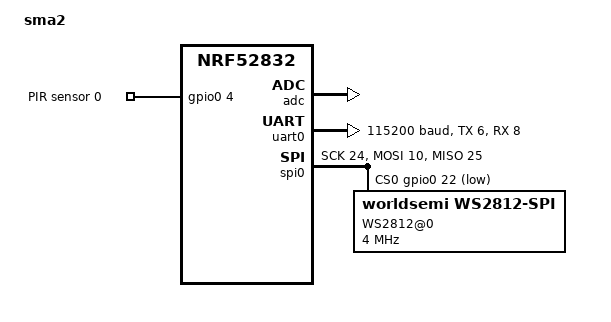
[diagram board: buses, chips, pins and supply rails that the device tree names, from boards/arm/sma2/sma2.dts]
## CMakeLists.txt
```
cmake_minimum_required(VERSION 3.20.0)

set(BOARD_ROOT ${CMAKE_CURRENT_LIST_DIR})
set(BOARD sma2)

find_package(Zephyr REQUIRED HINTS $ENV{ZEPHYR_BASE})
project(Sunmachine-A2-fw)

FILE(GLOB app_sources src/*.c)
target_sources(app PRIVATE ${app_sources})
```

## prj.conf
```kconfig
CONFIG_GPIO=y
CONFIG_NFCT_PINS_AS_GPIOS=y
CONFIG_SPI=y
CONFIG_LED_STRIP=y
CONFIG_WS2812_STRIP=y
CONFIG_ADC=y
CONFIG_COUNTER=y
CONFIG_COUNTER_RTC2=y

CONFIG_NEWLIB_LIBC=y
CONFIG_NEWLIB_LIBC_NANO=n

CONFIG_BT=y
CONFIG_BT_PERIPHERAL=y
CONFIG_BT_DEVICE_NAME="Sunmachine"
CONFIG_BT_DEVICE_NAME_DYNAMIC=y
CONFIG_BT_DEVICE_NAME_GATT_WRITABLE=y
CONFIG_BT_DEVICE_NAME_MAX=40
CONFIG_BT_DEVICE_APPEARANCE=1984
CONFIG_BT_CTLR_TX_PWR_PLUS_4=y
CONFIG_BT_SETTINGS=y
CONFIG_BT_SMP=y
#CONFIG_BT_SMP_SC_ONLY=y
CONFIG_BT_PRIVACY=y
CONFIG_BT_KEYS_OVERWRITE_OLDEST=y

CONFIG_FLASH=y
CONFIG_FLASH_PAGE_LAYOUT=y
CONFIG_FLASH_MAP=y
CONFIG_NVS=y
CONFIG_SETTINGS=y

#CONFIG_LOG=y
#CONFIG_RTT_CONSOLE=y
#CONFIG_UART_CONSOLE=n
```

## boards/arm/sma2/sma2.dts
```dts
/*
 * Copyright (c) 2017 Shawn Nock <shawn@monadnock.ca>
 * Copyright (c) 2017 Linaro Limited
 *
 * SPDX-License-Identifier: Apache-2.0
 */

/dts-v1/;
#include <nordic/nrf52832_qfaa.dtsi>
#include <dt-bindings/led/led.h>

/ {
	model = "sma2";
	compatible = "nordic,nrf52-dk-nrf52832";

	chosen {
		zephyr,console = &uart0;
		zephyr,shell-uart = &uart0;
		zephyr,uart-mcumgr = &uart0;
		zephyr,bt-mon-uart = &uart0;
		zephyr,bt-c2h-uart = &uart0;
		zephyr,sram = &sram0;
		zephyr,flash = &flash0;
		zephyr,code-partition = &slot0_partition;
	};

	pirs {
		compatible = "gpio-keys";
		pir0: pir_0 {
			gpios = <&gpio0 4 (GPIO_PULL_DOWN | GPIO_ACTIVE_HIGH)>;
			label = "PIR sensor 0";
		};
	};

	aliases {
		pir = &pir0;
	};
};

&adc {
	status = "okay";
};

&gpiote {
	status = "okay";
};

&gpio0 {
	status = "okay";
};

&uart0 {
	status = "okay";
	compatible = "nordic,nrf-uart";
	current-speed = <115200>;
	tx-pin = <6>;
	rx-pin = <8>;
	rx-pull-up;
	rts-pin = <5>;
	cts-pin = <7>;
	cts-pull-up;
};

&spi0 {
	compatible = "nordic,nrf-spi";
	status = "okay";
	sck-pin = <24>;
	mosi-pin = <10>;
	miso-pin = <25>;
	cs-gpios = <&gpio0 22 GPIO_ACTIVE_LOW>;

	led_strip: ws2812@0 {
		compatible = "worldsemi,ws2812-spi";
		label = "WS2812@0";
		reg = <0>;
		spi-max-frequency = <4000000>;
		spi-one-frame = <0x70>;
		spi-zero-frame = <0x40>;
		chain-length = <600>;
		color-mapping = <LED_COLOR_ID_GREEN
				LED_COLOR_ID_RED
				LED_COLOR_ID_BLUE>;
	};
};

&flash0 {
	/*
	 * For more information, see:
	 * https://docs.zephyrproject.org/latest/guides/dts/legacy-macros.html#legacy-flash-partitions
	 */
	partitions {
		compatible = "fixed-partitions";
		#address-cells = <1>;
		#size-cells = <1>;

		boot_partition: partition@0 {
			label = "mcuboot";
			reg = <0x00000000 0xc000>;
		};
		slot0_partition: partition@c000 {
			label = "image-0";
			reg = <0x0000C000 0x32000>;
		};
		slot1_partition: partition@3e000 {
			label = "image-1";
			reg = <0x0003E000 0x32000>;
		};
		scratch_partition: partition@70000 {
			label = "image-scratch";
			reg = <0x00070000 0xa000>;
		};
		storage_partition: partition@7a000 {
			label = "storage";
			reg = <0x0007a000 0x00006000>;
		};
	};
};
```

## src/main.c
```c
#include <zephyr.h>
#include <stdlib.h>
#include <string.h>
#include <math.h>
#include <device.h>
#include <drivers/gpio.h>
#include <drivers/led_strip.h>
#include <drivers/adc.h>
#include <hal/nrf_saadc.h>

#include "types.h"
#include "storage.h"
#include "cron.h"
#include "bluetooth.h"
#include "colors.h"

#define STRIP_NODE DT_NODELABEL(led_strip)
#define MOTION_NODE DT_ALIAS(pir)
#define MOTION_PIN DT_GPIO_PIN(MOTION_NODE, gpios)
#define MOTION_FLAGS GPIO_INPUT | DT_GPIO_FLAGS(MOTION_NODE, gpios)

struct k_thread thread_led;
K_THREAD_STACK_DEFINE(thr_stack_led, 1024);

uint8_t control[4] = { 0, 12, 10, 10 };
uint8_t strip[6] = { 0, 0, 30, 0, 100, 20 };
sun_auto_t auto_state = auto_off;
sun_ws2812_t ws2812;
uint16_t lux = 0, luxoff = 0xffff;

const struct device *gpio;
struct gpio_callback motion_cb;

const struct device *adc;
const struct adc_channel_cfg adc_channel = {
    .gain = ADC_GAIN_1_6,
    .reference = ADC_REF_INTERNAL,
    .acquisition_time = ADC_ACQ_TIME_DEFAULT,
    .channel_id = 0,
    .input_positive = NRF_SAADC_INPUT_AIN4,
};
int32_t adc_voltage[1];
const struct adc_sequence adc_sequence = {
    .channels = BIT(adc_channel.channel_id),
    .buffer = adc_voltage,
    .buffer_size = sizeof(adc_voltage),
    .resolution = 12,
};

const uint16_t delay_table[] = {
    210, 200, 190, 180, 170,
    160, 150, 140, 130, 120,
    110, 100, 90, 80, 70,
    60, 50, 40, 30, 20,
};

void luxoff_timeout(struct k_timer *timer);
K_TIMER_DEFINE(luxoff_timer, luxoff_timeout, NULL);

void auto_timeout(struct k_timer *timer);
K_TIMER_DEFINE(auto_timer, auto_timeout, NULL);

void ws2812_loop(void *a, void *b, void *c) {
    for(;;) {
        if(ws2812.update) {
            ws2812.update = false;

            if(MODE == mode_on || auto_state) {
                uint16_t hue = strip[2] | strip[3] << 8;
                uint8_t saturation = strip[4] <= 100 ? strip[4] : 100;
                uint8_t brightness = strip[5];
                if(auto_state == auto_semi) brightness /= 4;
                ws2812.pixbuf[0] = HSV(hue, saturation, brightness);
            } else {
                memset(&ws2812.pixbuf[0], 0, sizeof(struct led_rgb));
            }

            uint16_t pixlen = strip[0] | strip[1] << 8;
            uint32_t pixel_first = led_rgb_to_int(ws2812.pixbuf[0]);
            uint32_t pixel_last = led_rgb_to_int(ws2812.pixbuf[pixlen-1]);

            if(pixel_first != pixel_last) {
                for(uint16_t i=0; i<pixlen; i++) {
                    memcpy(&ws2812.pixbuf[i], &ws2812.pixbuf[0], sizeof(struct led_rgb));
                    led_strip_update_rgb(ws2812.dev, ws2812.pixbuf, pixlen);
                    k_msleep(delay_table[control[3]-1]);
                }
            }
        }

        k_msleep(10);
    }
}

void luxoff_timeout(struct k_timer *timer) {
    uint16_t a = control[2] * 7;
    uint16_t b = lux * 1.4;
    luxoff = a > b ? a : b;
}

void auto_timeout(struct k_timer *timer) {
    if(auto_state) auto_state--;
    if(auto_state == auto_semi) {
        double time_factor = control[1] * 7.5;
        double sqrt = time_factor / 3.0;
        for(uint8_t i=0; i<6; i++) {
            sqrt = (sqrt + time_factor / sqrt) / 2;
        }
        k_timer_start(&auto_timer, K_SECONDS(sqrt + 0.5), K_NO_WAIT);
    }
    ws2812.update = true;
}

void on_motion(const struct device *dev, struct gpio_callback *cb, gpio_port_pins_t pins) {
    if(MODE == mode_auto) {
        if(gpio_pin_get(gpio, MOTION_PIN)) {
            if(lux <= control[2] * 5) {
                k_timer_stop(&auto_timer);
                luxoff = 0xffff;
                auto_state = auto_on;
                ws2812.update = true;
                k_timer_start(&luxoff_timer, K_SECONDS(5), K_NO_WAIT);
            }
        } else {
            k_timer_start(&auto_timer, K_SECONDS(control[1] * 5), K_NO_WAIT);
        }
    }
}

void board_init() {
    ws2812.dev = DEVICE_DT_GET(STRIP_NODE);
    memset(&ws2812.pixbuf, 0, sizeof(ws2812.pixbuf));
    led_strip_update_rgb(ws2812.dev, ws2812.pixbuf, strip[0] | strip[1] << 8);
    ws2812.update = true;

    gpio = device_get_binding("GPIO_0");
    gpio_pin_configure(gpio, MOTION_PIN, MOTION_FLAGS);
    gpio_pin_interrupt_configure(gpio, MOTION_PIN, GPIO_INT_EDGE_BOTH);
    gpio_init_callback(&motion_cb, on_motion, BIT(MOTION_PIN));
    gpio_add_callback(gpio, &motion_cb);

    adc = device_get_binding("ADC_0");
    adc_channel_setup(adc, &adc_channel);

    k_thread_create(&thread_led,
        thr_stack_led, K_THREAD_STACK_SIZEOF(thr_stack_led),
        ws2812_loop, NULL, NULL, NULL,
        5, 0, K_NO_WAIT);
}

void main() {
    storage_init();
    cron_init();
    board_init();
    bluetooth_init();

    for(;;) {
        adc_read(adc, &adc_sequence);
        adc_raw_to_millivolts(adc_ref_internal(adc),
            adc_channel.gain, adc_sequence.resolution, &adc_voltage[0]);
        double resistance = (3300.0 - adc_voltage[0]) / adc_voltage[0] * 10000;
        lux = round(37500000 * pow(resistance, -1.41));
        bluetooth_lux_notify();

        if(auto_state && lux > luxoff) {
            auto_state = auto_off;
            ws2812.update = true;
        }

        if(MODE == mode_sleep && lux > control[2] * 7) {
            MODE_SET(mode_auto);
        }

        k_msleep(1000);
    }
}
```

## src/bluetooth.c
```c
#include <zephyr.h>
#include <stdio.h>
#include <stdlib.h>
#include <bluetooth/bluetooth.h>
#include <bluetooth/uuid.h>
#include <bluetooth/gap.h>
#include <bluetooth/gatt.h>
#include <settings/settings.h>

#include "types.h"
#include "storage.h"
#include "cron.h"

#define SRVC_UUID BT_UUID_DECLARE_128( \
    0xfe, 0xd0, 0xe2, 0xad, 0xb7, 0x07, 0xcc, 0x9a, \
    0x77, 0x4e, 0x04, 0xf7, 0x00, 0x34, 0x16, 0x20)

#define IDV_UUID BT_UUID_DECLARE_128( \
    0xfe, 0xd0, 0xe2, 0xad, 0xb7, 0x07, 0xcc, 0x9a, \
    0x77, 0x4e, 0x04, 0xf7, 0x01, 0x34, 0x16, 0x20)

#define CTRL_UUID BT_UUID_DECLARE_128( \
    0xfe, 0xd0, 0xe2, 0xad, 0xb7, 0x07, 0xcc, 0x9a, \
    0x77, 0x4e, 0x04, 0xf7, 0x02, 0x34, 0x16, 0x20)

#define STRIP_UUID BT_UUID_DECLARE_128( \
    0xfe, 0xd0, 0xe2, 0xad, 0xb7, 0x07, 0xcc, 0x9a, \
    0x77, 0x4e, 0x04, 0xf7, 0x03, 0x34, 0x16, 0x20)

#define LUX_UUID BT_UUID_DECLARE_128( \
    0xfe, 0xd0, 0xe2, 0xad, 0xb7, 0x07, 0xcc, 0x9a, \
    0x77, 0x4e, 0x04, 0xf7, 0x04, 0x34, 0x16, 0x20)

#define CRON_UUID BT_UUID_DECLARE_128( \
    0xfe, 0xd0, 0xe2, 0xad, 0xb7, 0x07, 0xcc, 0x9a, \
    0x77, 0x4e, 0x04, 0xf7, 0x05, 0x34, 0x16, 0x20)

#define RTC_UUID BT_UUID_DECLARE_128( \
    0xfe, 0xd0, 0xe2, 0xad, 0xb7, 0x07, 0xcc, 0x9a, \
    0x77, 0x4e, 0x04, 0xf7, 0x06, 0x34, 0x16, 0x20)

#define TZ_UUID BT_UUID_DECLARE_128( \
    0xfe, 0xd0, 0xe2, 0xad, 0xb7, 0x07, 0xcc, 0x9a, \
    0x77, 0x4e, 0x04, 0xf7, 0x07, 0x34, 0x16, 0x20)

const struct bt_data ad[] = {
    BT_DATA_BYTES(BT_DATA_FLAGS, (BT_LE_AD_GENERAL | BT_LE_AD_NO_BREDR)),
    BT_DATA_BYTES(BT_DATA_UUID128_ALL, \
        0xfe, 0xd0, 0xe2, 0xad, 0xb7, 0x07, 0xcc, 0x9a, \
        0x77, 0x4e, 0x04, 0xf7, 0x00, 0x34, 0x16, 0x20),
};

char idv[8] = { 'S', 'M', 'A', '2', 0, 0, 0, 0 };
bool notify_enable = false;

extern uint8_t control[4];
extern uint8_t strip[6];
extern uint16_t lux;
extern uint8_t cronbuf[40];
extern char timezone[50];
extern sun_ws2812_t ws2812;
extern sun_auto_t auto_state;
extern struct k_timer auto_timer;
extern struct k_timer luxoff_timer;

ssize_t idv_read(struct bt_conn *conn, const struct bt_gatt_attr *attr, void *buf, uint16_t len, uint16_t offset) {
    const uint8_t *value = attr->user_data;
    return bt_gatt_attr_read(conn, attr, buf, len, offset, value, sizeof(idv));
}

ssize_t control_read(struct bt_conn *conn, const struct bt_gatt_attr *attr, void *buf, uint16_t len, uint16_t offset) {
    const uint8_t *value = attr->user_data;
    return bt_gatt_attr_read(conn, attr, buf, len, offset, value, sizeof(control));
}

ssize_t control_write(struct bt_conn *conn, const struct bt_gatt_attr *attr, const void *buf, uint16_t len, uint16_t offset, uint8_t flags) {
    if(offset != 0 || len != sizeof(control)) {
        return BT_GATT_ERR(BT_ATT_ERR_INVALID_OFFSET);
    }
    uint8_t *value = attr->user_data;
    uint8_t *update = (uint8_t*)buf;
    bool trigger[3] = {
        (value[0] & 0x0f) != (update[0] & 0x0f),
        value[1] != update[1] && auto_state == auto_on,
        value[2] != update[2] && auto_state == auto_on,
    };
    memcpy(value + offset, buf, len);
    if(MODE != mode_auto) {
        auto_state = auto_off;
        k_timer_stop(&auto_timer);
    }
    if(trigger[0]) ws2812.update = true;
    if(trigger[1]) k_timer_start(&auto_timer, K_SECONDS(control[1] * 5), K_NO_WAIT);
    if(trigger[2]) k_timer_start(&luxoff_timer, K_SECONDS(1), K_NO_WAIT);
    storage_keep_control();
    return len;
}

ssize_t strip_read(struct bt_conn *conn, const struct bt_gatt_attr *attr, void *buf, uint16_t len, uint16_t offset) {
    const uint8_t *value = attr->user_data;
    return bt_gatt_attr_read(conn, attr, buf, len, offset, value, sizeof(strip));
}

ssize_t strip_write(struct bt_conn *conn, const struct bt_gatt_attr *attr, const void *buf, uint16_t len, uint16_t offset, uint8_t flags) {
    if(offset != 0 || len != sizeof(strip)) {
        return BT_GATT_ERR(BT_ATT_ERR_INVALID_OFFSET);
    }
    uint8_t *value = attr->user_data;
    uint8_t *update = (uint8_t*)buf;
    bool trigger = false;
    for(int i=0; i<len; i++) {
        if(value[i] != update[i]) trigger = true;
    }
    memcpy(value, buf, len);
    ws2812.update = trigger;
    storage_keep_strip();
    return len;
}

ssize_t lux_read(struct bt_conn *conn, const struct bt_gatt_attr *attr, void *buf, uint16_t len, uint16_t offset) {
    const uint8_t *value = attr->user_data;
    return bt_gatt_attr_read(conn, attr, buf, len, offset, value, sizeof(lux));
}

void lux_ccc_cfg_changed(const struct bt_gatt_attr *attr, uint16_t value) {
    notify_enable = (value == BT_GATT_CCC_NOTIFY);
}

ssize_t crontab_read(struct bt_conn *conn, const struct bt_gatt_attr *attr, void *buf, uint16_t len, uint16_t offset) {
    const uint8_t *value = attr->user_data;
    return bt_gatt_attr_read(conn, attr, buf, len, offset, value, sizeof(cronbuf));
}

ssize_t crontab_write(struct bt_conn *conn, const struct bt_gatt_attr *attr, const void *buf, uint16_t len, uint16_t offset, uint8_t flags) {
    if(offset != 0 || len != sizeof(cronbuf)) {
        return BT_GATT_ERR(BT_ATT_ERR_INVALID_OFFSET);
    }
    uint8_t *value = attr->user_data;
    memcpy(value, buf, len);
    crontab_load();
    storage_keep_cronbuf();
    return len;
}

ssize_t rtc_read(struct bt_conn *conn, const struct bt_gatt_attr *attr, void *buf, uint16_t len, uint16_t offset) {
    time_t rtc_value = rtc_get();
    const uint8_t *value = (uint8_t*)&rtc_value;
    return bt_gatt_attr_read(conn, attr, buf, len, offset, value, sizeof(rtc_value));
}

ssize_t rtc_write(struct bt_conn *conn, const struct bt_gatt_attr *attr, const void *buf, uint16_t len, uint16_t offset, uint8_t flags) {
    if(offset != 0 || len != sizeof(time_t)) {
        return BT_GATT_ERR(BT_ATT_ERR_INVALID_OFFSET);
    }
    uint8_t *value = (uint8_t*)malloc(len);
    memcpy(value, buf, len);
    rtc_set(*(time_t*)value);
    free(value);
    return len;
}

ssize_t timezone_read(struct bt_conn *conn, const struct bt_gatt_attr *attr, void *buf, uint16_t len, uint16_t offset) {
    const uint8_t *value = attr->user_data;
    return bt_gatt_attr_read(conn, attr, buf, len, offset, value, strlen(timezone));
}

ssize_t timezone_write(struct bt_conn *conn, const struct bt_gatt_attr *attr, const void *buf, uint16_t len, uint16_t offset, uint8_t flags) {
    if(offset != 0 || len >= sizeof(timezone)) {
        return BT_GATT_ERR(BT_ATT_ERR_INVALID_OFFSET);
    }
    uint8_t *value = attr->user_data;
    memcpy(value, buf, len);
    _setenv_r(_REENT, "TZ", value, 1);
    return len;
}

BT_GATT_SERVICE_DEFINE(vnd_svc,
    BT_GATT_PRIMARY_SERVICE(SRVC_UUID),
    BT_GATT_CHARACTERISTIC(IDV_UUID,
        BT_GATT_CHRC_READ,
        BT_GATT_PERM_READ,
        idv_read, NULL, &idv),
    BT_GATT_CHARACTERISTIC(CTRL_UUID,
        BT_GATT_CHRC_READ | BT_GATT_CHRC_WRITE,
        BT_GATT_PERM_READ | BT_GATT_PERM_WRITE,
        control_read, control_write, &control),
    BT_GATT_CHARACTERISTIC(STRIP_UUID,
        BT_GATT_CHRC_READ | BT_GATT_CHRC_WRITE,
        BT_GATT_PERM_READ | BT_GATT_PERM_WRITE,
        strip_read, strip_write, &strip),
    BT_GATT_CHARACTERISTIC(LUX_UUID,
        BT_GATT_CHRC_READ | BT_GATT_CHRC_NOTIFY,
        BT_GATT_PERM_READ,
        lux_read, NULL, &lux),
    BT_GATT_CCC(lux_ccc_cfg_changed,
        BT_GATT_PERM_READ | BT_GATT_PERM_WRITE),
    BT_GATT_CHARACTERISTIC(CRON_UUID,
        BT_GATT_CHRC_READ | BT_GATT_CHRC_WRITE,
        BT_GATT_PERM_READ | BT_GATT_PERM_WRITE,
        crontab_read, crontab_write, &cronbuf),
    BT_GATT_CHARACTERISTIC(RTC_UUID,
        BT_GATT_CHRC_READ | BT_GATT_CHRC_WRITE,
        BT_GATT_PERM_READ | BT_GATT_PERM_WRITE,
        rtc_read, rtc_write, NULL),
    BT_GATT_CHARACTERISTIC(TZ_UUID,
        BT_GATT_CHRC_READ | BT_GATT_CHRC_WRITE,
        BT_GATT_PERM_READ | BT_GATT_PERM_WRITE,
        timezone_read, timezone_write, &timezone),
);

void bluetooth_lux_notify() {
    if(notify_enable) bt_gatt_notify(NULL, &vnd_svc.attrs[7], &lux, sizeof(lux));
}

void bt_ready(int err) {
    settings_load();

    if(!strcmp(CONFIG_BT_DEVICE_NAME, bt_get_name())) {
        bt_addr_le_t addr[CONFIG_BT_ID_MAX];
        int addrs_count = 1;
        bt_id_get(addr, &addrs_count);
        if(addrs_count) {
            char btname[16];
            sprintf(btname, "%s %02X%02X",
                CONFIG_BT_DEVICE_NAME,
                addr[0].a.val[1], addr[0].a.val[0]);
            bt_set_name(btname);
        }
    }

    bt_le_adv_start(
        BT_LE_ADV_PARAM(
            BT_LE_ADV_OPT_CONNECTABLE | BT_LE_ADV_OPT_USE_NAME,
            BT_GAP_ADV_FAST_INT_MIN_2, BT_GAP_ADV_FAST_INT_MAX_2, NULL
        ),
        ad, ARRAY_SIZE(ad), NULL, 0
    );
}

void bluetooth_init() {
    bt_enable(bt_ready);
}
```

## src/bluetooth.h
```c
#pragma once

void bluetooth_lux_notify();
void bluetooth_init();
```

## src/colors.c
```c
#include "colors.h"

const uint8_t gamma_table[] = {
    0x00, 0x00, 0x00, 0x00, 0x00, 0x00, 0x00, 0x00, 0x00, 0x00, 0x00, 0x00, 0x00, 0x00, 0x01, 0x01,
    0x01, 0x01, 0x01, 0x01, 0x01, 0x01, 0x01, 0x02, 0x02, 0x02, 0x02, 0x02, 0x02, 0x03, 0x03, 0x03,
    0x03, 0x03, 0x04, 0x04, 0x04, 0x04, 0x05, 0x05, 0x05, 0x05, 0x06, 0x06, 0x06, 0x07, 0x07, 0x07,
    0x08, 0x08, 0x08, 0x09, 0x09, 0x09, 0x0a, 0x0a, 0x0b, 0x0b, 0x0b, 0x0c, 0x0c, 0x0d, 0x0d, 0x0e,
    0x0e, 0x0e, 0x0f, 0x0f, 0x10, 0x10, 0x11, 0x11, 0x12, 0x12, 0x13, 0x14, 0x14, 0x15, 0x15, 0x16,
    0x16, 0x17, 0x18, 0x18, 0x19, 0x19, 0x1a, 0x1b, 0x1b, 0x1c, 0x1d, 0x1d, 0x1e, 0x1f, 0x1f, 0x20,
    0x21, 0x21, 0x22, 0x23, 0x24, 0x24, 0x25, 0x26, 0x27, 0x28, 0x28, 0x29, 0x2a, 0x2b, 0x2c, 0x2c,
    0x2d, 0x2e, 0x2f, 0x30, 0x31, 0x32, 0x33, 0x33, 0x34, 0x35, 0x36, 0x37, 0x38, 0x39, 0x3a, 0x3b,
    0x3c, 0x3d, 0x3e, 0x3f, 0x40, 0x41, 0x42, 0x43, 0x44, 0x45, 0x46, 0x47, 0x48, 0x49, 0x4b, 0x4c,
    0x4d, 0x4e, 0x4f, 0x50, 0x51, 0x53, 0x54, 0x55, 0x56, 0x57, 0x58, 0x5a, 0x5b, 0x5c, 0x5d, 0x5f,
    0x60, 0x61, 0x62, 0x64, 0x65, 0x66, 0x68, 0x69, 0x6a, 0x6b, 0x6d, 0x6e, 0x70, 0x71, 0x72, 0x74,
    0x75, 0x76, 0x78, 0x79, 0x7b, 0x7c, 0x7e, 0x7f, 0x81, 0x82, 0x83, 0x85, 0x86, 0x88, 0x89, 0x8b,
    0x8d, 0x8e, 0x90, 0x91, 0x93, 0x94, 0x96, 0x97, 0x99, 0x9b, 0x9c, 0x9e, 0xa0, 0xa1, 0xa3, 0xa5,
    0xa6, 0xa8, 0xaa, 0xab, 0xad, 0xaf, 0xb0, 0xb2, 0xb4, 0xb6, 0xb7, 0xb9, 0xbb, 0xbd, 0xbf, 0xc0,
    0xc2, 0xc4, 0xc6, 0xc8, 0xca, 0xcb, 0xcd, 0xcf, 0xd1, 0xd3, 0xd5, 0xd7, 0xd9, 0xdb, 0xdd, 0xdf,
    0xe1, 0xe2, 0xe4, 0xe6, 0xe8, 0xea, 0xec, 0xee, 0xf1, 0xf3, 0xf5, 0xf7, 0xf9, 0xfb, 0xfd, 0xff,
};

struct led_rgb HSV(uint16_t h1, uint8_t s1, uint8_t v1) {
    float h = h1 / 360.0;
    float s = s1 / 100.0;
    float v = v1 / 100.0;

    int i = h * 6;
    float f = h * 6 - i;
    float p = v * (1 - s);
    float q = v * (1 - f * s);
    float t = v * (1 - (1 - f) * s);
        
    float r, g, b;
    switch(i % 6) {
        case 0: r = v, g = t, b = p; break;
        case 1: r = q, g = v, b = p; break;
        case 2: r = p, g = v, b = t; break;
        case 3: r = p, g = q, b = v; break;
        case 4: r = t, g = p, b = v; break;
        case 5: r = v, g = p, b = q; break;
        default: r = 0, g = 0, b = 0;
    }
        
    struct led_rgb color;
    color.r = gamma_table[(int)(r * 255)];
    color.g = gamma_table[(int)(g * 255)];
    color.b = gamma_table[(int)(b * 255)];
    return color;
}

uint32_t led_rgb_to_int(struct led_rgb color) {
    return color.r << 16 | color.g << 8 | color.b;
}
```

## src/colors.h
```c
#pragma once
#include <drivers/led_strip.h>

struct led_rgb HSV(uint16_t h1, uint8_t s1, uint8_t v1);
uint32_t led_rgb_to_int(struct led_rgb color);
```

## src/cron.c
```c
#include <zephyr.h>
#include <stdlib.h>
#include <time.h>
#include <device.h>
#include <drivers/counter.h>

#include "types.h"
#include "storage.h"

#define RTC_TOP_TICKS 500

const struct device *rtc;
time_t base = -1000000000;
char timezone[50] = "";
uint8_t cronbuf[40] = {};
sun_cron_t crontab[10] = {};
struct counter_alarm_cfg alarm_cfg;

extern uint8_t control[4];
extern uint8_t strip[6];
extern sun_ws2812_t ws2812;

K_SEM_DEFINE(callback_sem, 1, 1);

void rtc_set(time_t value) {
    uint32_t ticks;
    counter_get_value(rtc, &ticks);
    base = value - counter_ticks_to_us(rtc, ticks) / USEC_PER_SEC;
}

time_t rtc_get() {
    uint32_t ticks;
    counter_get_value(rtc, &ticks);
    return base + counter_ticks_to_us(rtc, ticks) / USEC_PER_SEC;
}

void crontab_load() {
    uint8_t len = sizeof(crontab) / sizeof(crontab[0]);
    for(int i=0; i<len; i++) {
        int offset = i * 4;
        sun_cron_t *job = &crontab[i];
        job->enabled = cronbuf[0 + offset] >> 7;
        job->dow = cronbuf[0 + offset] & 0x7f;
        job->hh = cronbuf[1 + offset] >> 3;
        job->mm = (cronbuf[1 + offset] & 0x07) << 3 | cronbuf[2 + offset] >> 5;
        job->routine = (cronbuf[2 + offset] & 0x18) >> 3;
        job->value = (cronbuf[2 + offset] & 0x01) << 8 | cronbuf[3 + offset];
    }
}

void cron_dispatch(sun_cron_t *job) {
    switch(crontab->routine) {
        case routine_mode:
            MODE_SET(job->value);
            ws2812.update = true;
            storage_keep_control();
            break;

        case routine_hue:
            strip[2] = job->value & 0xff;
            strip[3] = job->value >> 8;
            ws2812.update = true;
            storage_keep_strip();
            break;

        case routine_saturation:
            strip[4] = job->value;
            ws2812.update = true;
            storage_keep_strip();
            break;

        case routine_brightness:
            strip[5] = job->value;
            ws2812.update = true;
            storage_keep_strip();
            break;
    }
}

void alarm_cb(const struct device *counter_dev, uint8_t chan_id, uint32_t ticks, void *user_data) {
    k_sem_take(&callback_sem, K_FOREVER);
    time_t t0 = base + counter_ticks_to_us(rtc, ticks) / USEC_PER_SEC;
    k_sem_give(&callback_sem);

    struct tm *t1 = localtime(&t0);
    alarm_cfg.ticks = counter_us_to_ticks(rtc, (60 - t1->tm_sec) * USEC_PER_SEC);
    counter_set_channel_alarm(rtc, 0, &alarm_cfg);

    if(base > 0) {
        uint8_t len = sizeof(crontab) / sizeof(crontab[0]);
        for(int i=0; i<len; i++) {
            sun_cron_t *job = &crontab[i];
            bool match = job->enabled && (job->dow & 1 << t1->tm_wday) \
                && job->hh == t1->tm_hour && job->mm == t1->tm_min;
            if(match) cron_dispatch(job);
        }
    }
}

void top_value_cb(const struct device *counter_dev, void *user_data) {
    k_sem_take(&callback_sem, K_FOREVER);
    base += RTC_TOP_TICKS;
    k_sem_give(&callback_sem);
}

void cron_init() {
    crontab_load();
    rtc = device_get_binding("RTC_2");
    counter_start(rtc);

    struct counter_top_cfg top_value_cfg = {
        .ticks = counter_us_to_ticks(rtc, RTC_TOP_TICKS * USEC_PER_SEC),
        .callback = top_value_cb,
        .user_data = NULL,
        .flags = 0,
    };
    counter_set_top_value(rtc, &top_value_cfg);

    struct tm *t1 = localtime(&base);
    alarm_cfg.ticks = counter_us_to_ticks(rtc, (60 - t1->tm_sec) * USEC_PER_SEC);
    alarm_cfg.callback = alarm_cb;
    alarm_cfg.user_data = NULL;
    alarm_cfg.flags = 0;
    counter_set_channel_alarm(rtc, 0, &alarm_cfg);
}
```

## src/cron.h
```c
#pragma once
#include <time.h>

void rtc_set(time_t value);
time_t rtc_get();
void crontab_load();
void cron_init();
```

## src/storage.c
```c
#include <zephyr.h>
#include <drivers/flash.h>
#include <storage/flash_map.h>
#include <fs/nvs.h>

struct nvs_fs fs;

extern uint8_t control[4];
extern uint8_t strip[6];
extern uint8_t cronbuf[40];

void keep_control_cb(struct k_work *work) {
    nvs_write(&fs, 1, &control, sizeof(control));
}
K_WORK_DEFINE(keep_control_work, keep_control_cb);

void storage_keep_control() {
    k_work_submit(&keep_control_work);
}

void keep_strip_cb(struct k_work *work) {
    nvs_write(&fs, 2, &strip, sizeof(strip));
}
K_WORK_DEFINE(keep_strip_work, keep_strip_cb);

void storage_keep_strip() {
    k_work_submit(&keep_strip_work);
}

void keep_cronbuf_cb(struct k_work *work) {
    nvs_write(&fs, 3, &cronbuf, sizeof(cronbuf));
}
K_WORK_DEFINE(keep_cronbuf_work, keep_cronbuf_cb);

void storage_keep_cronbuf() {
    k_work_submit(&keep_cronbuf_work);
}

void storage_init() {
    struct flash_pages_info info;

    fs.offset = FLASH_AREA_OFFSET(storage);
    flash_get_page_info_by_offs(
        device_get_binding(DT_CHOSEN_ZEPHYR_FLASH_CONTROLLER_LABEL),
        fs.offset, &info);
    fs.sector_size = info.size;
    fs.sector_count = 6;

    nvs_init(&fs, DT_CHOSEN_ZEPHYR_FLASH_CONTROLLER_LABEL);
    nvs_read(&fs, 1, &control, sizeof(control));
    nvs_read(&fs, 2, &strip, sizeof(strip));
    nvs_read(&fs, 3, &cronbuf, sizeof(cronbuf));
}
```

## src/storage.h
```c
#pragma once

void storage_keep_control();
void storage_keep_strip();
void storage_keep_cronbuf();
void storage_init();
```

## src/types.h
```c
#pragma once
#include <device.h>
#include <drivers/led_strip.h>

#define MODE (sun_mode_t)(control[0] & 0x0f)
#define MODE_SET(mode) (control[0] = (control[0] & 0xf0) | mode)

typedef enum {
    mode_off,
    mode_on,
    mode_sleep,
    mode_auto,
} sun_mode_t;

typedef enum {
    auto_off,
    auto_semi,
    auto_on,
} sun_auto_t;

typedef enum {
    routine_mode,
    routine_brightness,
    routine_hue,
    routine_saturation,
} sun_routine_t;

typedef struct {
    const struct device *dev;
    struct led_rgb pixbuf[600];
    bool update:1;
} sun_ws2812_t;

typedef struct {
    unsigned int enabled:1;
    unsigned int dow:7;
    unsigned int hh:5;
    unsigned int mm:6;
    unsigned int routine:2;
    unsigned int value:9;
} sun_cron_t;
```
